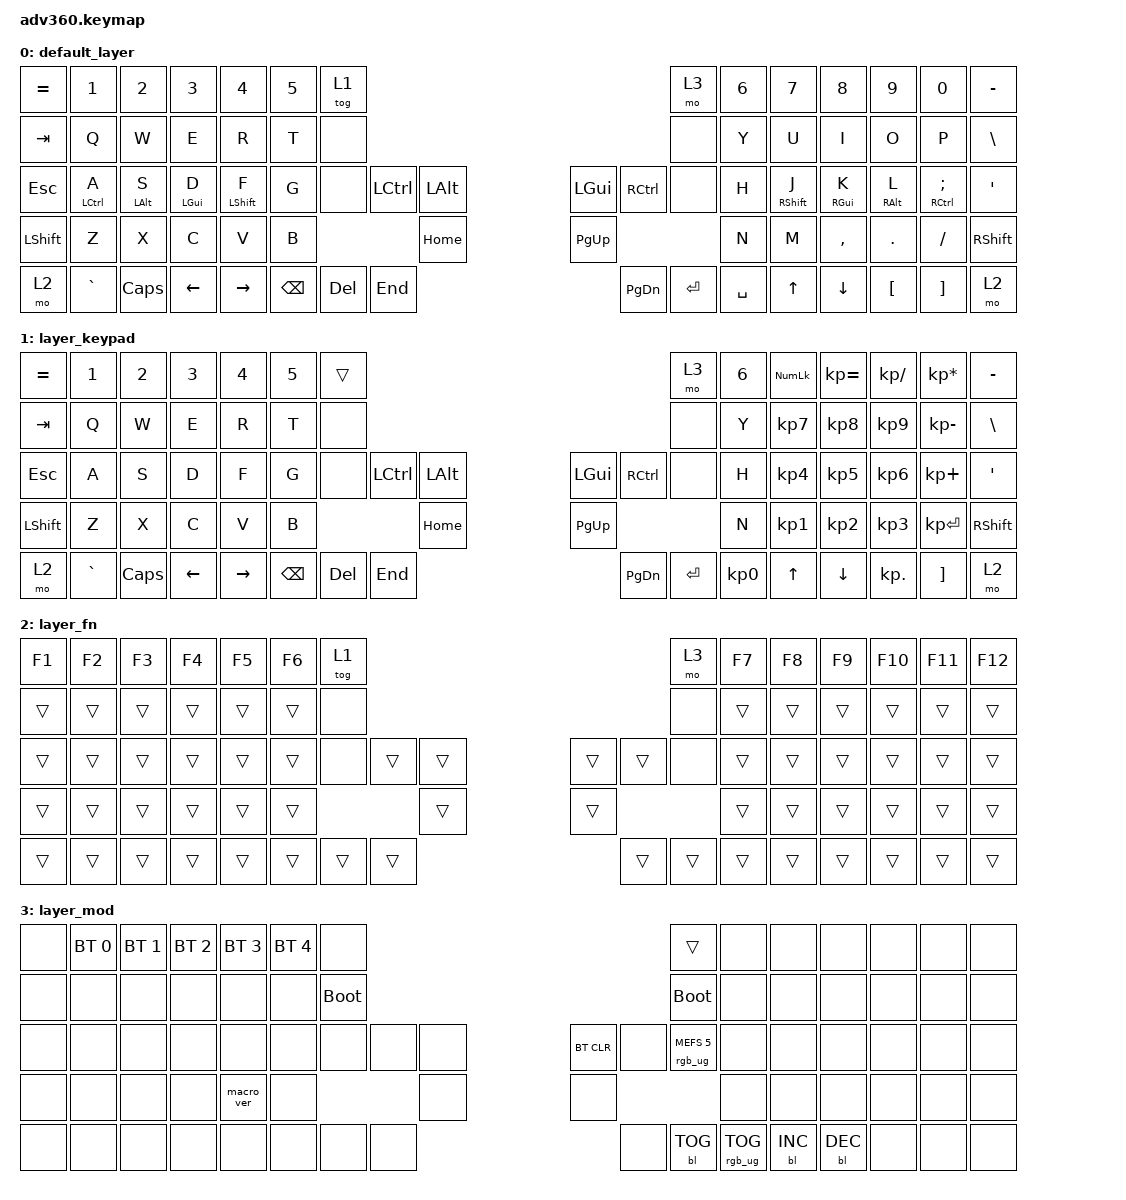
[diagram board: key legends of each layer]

/*
 * Copyright (c) 2020 The ZMK Contributors
 *
 * SPDX-License-Identifier: MIT
 */


/* THIS FILE WAS GENERATED!
 *
 * This file was generated automatically. You may or may not want to
 * edit it directly.
 */

#include <behaviors.dtsi>
#include <dt-bindings/zmk/keys.h>
#include <dt-bindings/zmk/bt.h>
#include <dt-bindings/zmk/rgb.h>
#include <dt-bindings/zmk/backlight.h>

#define KEYS_LEFT 0 1 2 3 4 5 6 \
                  14 15 16 17 18 19 20 \
                  28 29 30 31 32 33 34 \
                  46 47 48 49 50 51 \
                  66 67 68 69 70

#define KEYS_RIGHT 7 8 9 10 11 12 13 \
                   21 22 23 24 25 26 27 \
                   39 40 41 42 43 44 45 \
                   60 61 62 63 64 65 \
                   77 78 79 80 81

/ {
  behaviors {
    #include "macros.dtsi"
    #include "version.dtsi"

    hm: homerow_mods {
        compatible = "zmk,behavior-hold-tap";
        label = "HOMEROW_MODS";
        #binding-cells = <2>;
        tapping-term-ms = <200>;
        quick_tap_ms = <175>;
        flavor = "tap-preferred";
        bindings = <&kp>, <&kp>;
    };

    hm_l: homerow_mods_left {
        compatible = "zmk,behavior-hold-tap";
        label = "HOMEROW_MODS_LEFT";
        #binding-cells = <2>;
        tapping-term-ms = <280>;
        quick_tap_ms = <175>;
        require-prior-idle-ms = <150>;
        flavor = "balanced";
        bindings = <&kp>, <&kp>;
        hold-trigger-key-positions = <KEYS_RIGHT>;
        hold-trigger-on-release;
    };

    hm_r: homerow_mods_right {
        compatible = "zmk,behavior-hold-tap";
        label = "HOMEROW_MODS_RIGHT";
        #binding-cells = <2>;
        tapping-term-ms = <280>;
        quick_tap_ms = <175>;
        require-prior-idle-ms = <150>;
        flavor = "balanced";
        bindings = <&kp>, <&kp>;
        hold-trigger-key-positions = <KEYS_LEFT>;
        hold-trigger-on-release;
    };
  };

    keymap {
        compatible = "zmk,keymap";


        default_layer {
            bindings = <
 &kp EQUAL       &kp N1      &kp N2      &kp N3        &kp N4  &kp N5              &tog 1                                                                 &mo 3  &kp N6        &kp N7      &kp N8      &kp N9          &kp N0  &kp MINUS
   &kp TAB        &kp Q       &kp W       &kp E         &kp R   &kp T               &none                                                                 &none   &kp Y         &kp U       &kp I       &kp O           &kp P   &kp BSLH
   &kp ESC  &hm_l LCTRL A  &hm_l LALT S  &hm_l LGUI D  &hm_l LSHIFT F   &kp G               &none  &kp LCTRL  &kp LALT                   &kp LGUI  &kp RCTRL      &none   &kp H  &hm_r RSHIFT J  &hm_r RGUI K  &hm_r RALT L  &hm_r RCTRL SEMI    &kp SQT
 &kp LSHFT        &kp Z       &kp X       &kp C         &kp V   &kp B                                 &kp HOME                  &kp PG_UP                         &kp N         &kp M   &kp COMMA     &kp DOT        &kp FSLH  &kp RSHFT
     &mo 2    &kp GRAVE    &kp CAPS    &kp LEFT     &kp RIGHT                    &kp BSPC    &kp DEL   &kp END                  &kp PG_DN  &kp ENTER  &kp SPACE                &kp UP    &kp DOWN    &kp LBKT        &kp RBKT      &mo 2
            >;
        };

        layer_keypad {
            bindings = <
 &kp EQUAL     &kp N1    &kp N2    &kp N3     &kp N4  &kp N5              &trans                                                                 &mo 3  &kp N6  &kp KP_NUM  &kp KP_EQUAL  &kp KP_DIVIDE  &kp KP_MULTIPLY  &kp MINUS
   &kp TAB      &kp Q     &kp W     &kp E      &kp R   &kp T               &none                                                                 &none   &kp Y   &kp KP_N7     &kp KP_N8      &kp KP_N9     &kp KP_MINUS   &kp BSLH
   &kp ESC      &kp A     &kp S     &kp D      &kp F   &kp G               &none  &kp LCTRL  &kp LALT                   &kp LGUI  &kp RCTRL      &none   &kp H   &kp KP_N4     &kp KP_N5      &kp KP_N6      &kp KP_PLUS    &kp SQT
 &kp LSHFT      &kp Z     &kp X     &kp C      &kp V   &kp B                                 &kp HOME                  &kp PG_UP                         &kp N   &kp KP_N1     &kp KP_N2      &kp KP_N3     &kp KP_ENTER  &kp RSHFT
     &mo 2  &kp GRAVE  &kp CAPS  &kp LEFT  &kp RIGHT                    &kp BSPC    &kp DEL   &kp END                  &kp PG_DN  &kp ENTER  &kp KP_N0              &kp UP      &kp DOWN     &kp KP_DOT         &kp RBKT      &mo 2
            >;
        };

        layer_fn {
            bindings = <
 &kp F1  &kp F2  &kp F3  &kp F4  &kp F5  &kp F6            &tog 1                                                   &mo 3  &kp F7  &kp F8  &kp F9  &kp F10  &kp F11  &kp F12
 &trans  &trans  &trans  &trans  &trans  &trans             &none                                                   &none  &trans  &trans  &trans   &trans   &trans   &trans
 &trans  &trans  &trans  &trans  &trans  &trans             &none  &trans  &trans                  &trans  &trans   &none  &trans  &trans  &trans   &trans   &trans   &trans
 &trans  &trans  &trans  &trans  &trans  &trans                            &trans                  &trans                  &trans  &trans  &trans   &trans   &trans   &trans
 &trans  &trans  &trans  &trans  &trans                    &trans  &trans  &trans                  &trans  &trans  &trans          &trans  &trans   &trans   &trans   &trans
            >;
        };

        layer_mod {
            bindings = <
  &none  &bt BT_SEL 0  &bt BT_SEL 1  &bt BT_SEL 2  &bt BT_SEL 3  &bt BT_SEL 4                  &none                                                                          &trans   &none       &none       &none   &none   &none   &none
  &none         &none         &none         &none         &none         &none            &bootloader                                                                     &bootloader   &none       &none       &none   &none   &none   &none
  &none         &none         &none         &none         &none         &none                  &none   &none   &none                  &bt BT_CLR       &none  &rgb_ug RGB_MEFS_CMD 5   &none       &none       &none   &none   &none   &none
  &none         &none         &none         &none    &macro_ver         &none                                  &none                       &none                                       &none       &none       &none   &none   &none   &none
  &none         &none         &none         &none         &none                                &none   &none   &none                       &none  &bl BL_TOG         &rgb_ug RGB_TOG          &bl BL_INC  &bl BL_DEC   &none   &none   &none
            >;
        };

    };
};
